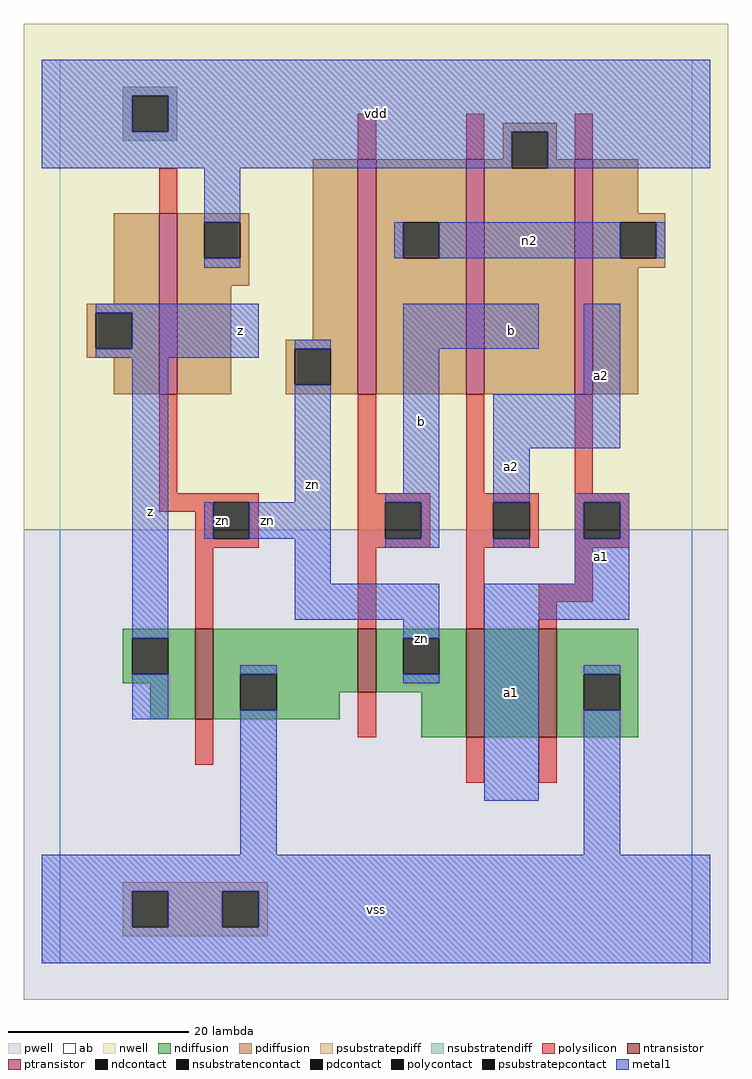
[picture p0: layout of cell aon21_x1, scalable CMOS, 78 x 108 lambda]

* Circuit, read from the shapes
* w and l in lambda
.subckt aon21_x1 a1 a2 b n2 vdd vss z zn
M1 vss zn z vss nfet w=10 l=2
M2 zn b vss vss nfet w=7 l=2
M3 n1 a2 zn vss nfet w=12 l=2
M4 vss a1 n1 vss nfet w=12 l=2
M5 vdd zn z vdd pfet w=20 l=2
M6 n2 b zn vdd pfet w=26 l=2
M7 vdd a2 n2 vdd pfet w=26 l=2
M8 n2 a1 vdd vdd pfet w=26 l=2
.ends

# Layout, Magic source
magic
tech scmos
<< ab >>
rect 0 0 70 100
<< pwell >>
rect -4 -4 74 48
<< nwell >>
rect -4 48 74 104
<< polysilicon >>
rect 33 89 35 94
rect 45 89 47 94
rect 11 83 13 88
rect 57 89 59 94
rect 11 52 13 63
rect 33 52 35 63
rect 45 52 47 63
rect 57 52 59 63
rect 11 51 22 52
rect 11 50 17 51
rect 15 47 17 50
rect 21 47 22 51
rect 15 46 22 47
rect 33 51 41 52
rect 33 47 36 51
rect 40 47 41 51
rect 33 46 41 47
rect 45 51 53 52
rect 45 47 48 51
rect 52 47 53 51
rect 45 46 53 47
rect 57 51 63 52
rect 57 47 58 51
rect 62 47 63 51
rect 57 46 63 47
rect 15 37 17 46
rect 33 37 35 46
rect 45 37 47 46
rect 57 42 59 46
rect 53 40 59 42
rect 53 37 55 40
rect 15 22 17 27
rect 33 25 35 30
rect 45 20 47 25
rect 53 20 55 25
<< ndiffusion >>
rect 7 36 15 37
rect 7 32 8 36
rect 12 32 15 36
rect 7 31 15 32
rect 10 27 15 31
rect 17 32 33 37
rect 17 28 20 32
rect 24 30 33 32
rect 35 36 45 37
rect 35 32 38 36
rect 42 32 45 36
rect 35 30 45 32
rect 24 28 31 30
rect 17 27 31 28
rect 40 25 45 30
rect 47 25 53 37
rect 55 32 64 37
rect 55 28 58 32
rect 62 28 64 32
rect 55 25 64 28
<< pdiffusion >>
rect 49 92 55 93
rect 49 89 50 92
rect 6 73 11 83
rect 3 72 11 73
rect 3 68 4 72
rect 8 68 11 72
rect 3 67 11 68
rect 6 63 11 67
rect 13 82 21 83
rect 13 78 16 82
rect 20 78 21 82
rect 13 75 21 78
rect 13 63 19 75
rect 28 69 33 89
rect 25 68 33 69
rect 25 64 26 68
rect 30 64 33 68
rect 25 63 33 64
rect 35 82 45 89
rect 35 78 38 82
rect 42 78 45 82
rect 35 63 45 78
rect 47 88 50 89
rect 54 89 55 92
rect 54 88 57 89
rect 47 63 57 88
rect 59 83 64 89
rect 59 82 67 83
rect 59 78 62 82
rect 66 78 67 82
rect 59 77 67 78
rect 59 63 64 77
<< metal1 >>
rect -2 96 72 100
rect -2 92 8 96
rect 12 92 72 96
rect -2 88 50 92
rect 54 88 72 92
rect 16 82 20 88
rect 37 78 38 82
rect 42 78 62 82
rect 66 78 67 82
rect 16 77 20 78
rect 4 72 22 73
rect 8 68 22 72
rect 4 67 22 68
rect 26 68 30 69
rect 8 36 12 67
rect 26 51 30 64
rect 38 68 53 73
rect 38 52 42 68
rect 58 63 62 73
rect 16 47 17 51
rect 21 47 30 51
rect 26 42 30 47
rect 36 51 42 52
rect 40 47 42 51
rect 36 46 42 47
rect 48 57 62 63
rect 48 51 52 57
rect 48 46 52 47
rect 57 51 63 52
rect 57 47 58 51
rect 62 47 63 51
rect 57 42 63 47
rect 26 38 42 42
rect 38 36 42 38
rect 8 27 12 32
rect 20 32 24 33
rect 38 31 42 32
rect 47 38 63 42
rect 20 12 24 28
rect 47 18 53 38
rect 58 32 62 33
rect 58 12 62 28
rect -2 8 72 12
rect -2 4 8 8
rect 12 4 18 8
rect 22 4 72 8
rect -2 0 72 4
<< ntransistor >>
rect 15 27 17 37
rect 33 30 35 37
rect 45 25 47 37
rect 53 25 55 37
<< ptransistor >>
rect 11 63 13 83
rect 33 63 35 89
rect 45 63 47 89
rect 57 63 59 89
<< polycontact >>
rect 17 47 21 51
rect 36 47 40 51
rect 48 47 52 51
rect 58 47 62 51
<< ndcontact >>
rect 8 32 12 36
rect 20 28 24 32
rect 38 32 42 36
rect 58 28 62 32
<< pdcontact >>
rect 4 68 8 72
rect 16 78 20 82
rect 26 64 30 68
rect 38 78 42 82
rect 50 88 54 92
rect 62 78 66 82
<< psubstratepcontact >>
rect 8 4 12 8
rect 18 4 22 8
<< nsubstratencontact >>
rect 8 92 12 96
<< psubstratepdiff >>
rect 7 8 23 9
rect 7 4 8 8
rect 12 4 18 8
rect 22 4 23 8
rect 7 3 23 4
<< nsubstratendiff >>
rect 7 96 13 97
rect 7 92 8 96
rect 12 92 13 96
rect 7 91 13 92
<< labels >>
rlabel polycontact 18 49 18 49 6 zn
rlabel metal1 10 50 10 50 6 z
rlabel metal1 28 53 28 53 6 zn
rlabel metal1 23 49 23 49 6 zn
rlabel metal1 20 70 20 70 6 z
rlabel metal1 35 6 35 6 6 vss
rlabel metal1 40 36 40 36 6 zn
rlabel metal1 50 30 50 30 6 a1
rlabel metal1 50 70 50 70 6 b
rlabel metal1 50 55 50 55 6 a2
rlabel metal1 40 60 40 60 6 b
rlabel metal1 35 94 35 94 6 vdd
rlabel metal1 60 45 60 45 6 a1
rlabel metal1 60 65 60 65 6 a2
rlabel metal1 52 80 52 80 6 n2
<< end >>
